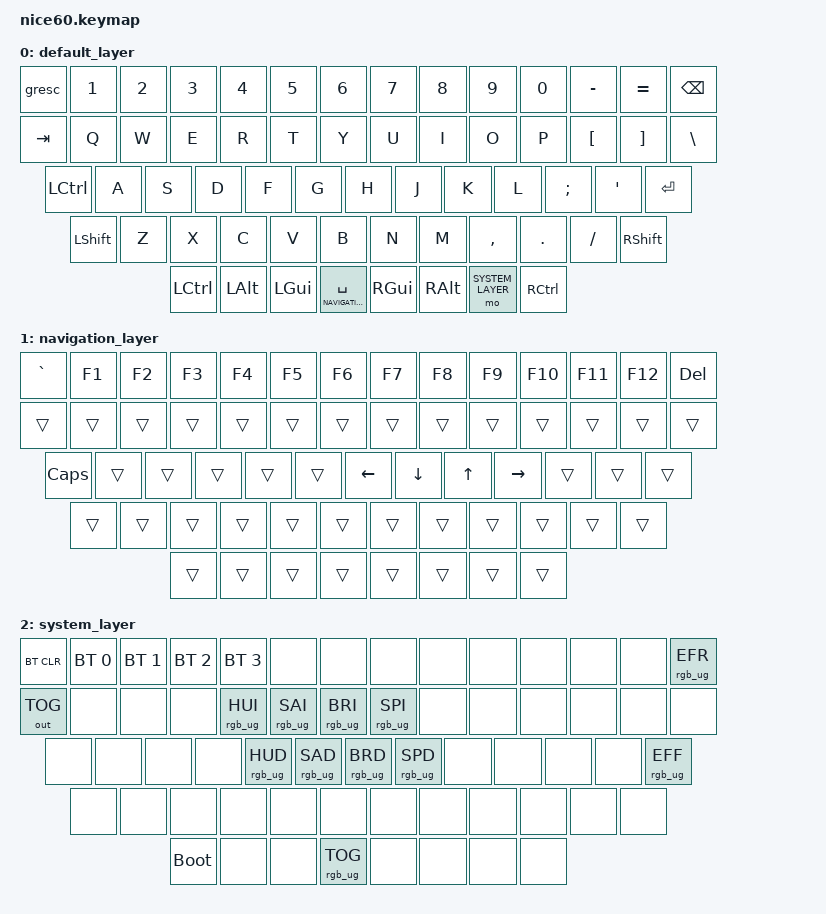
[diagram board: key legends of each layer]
/*
 * Copyright (c) 2021 Nick Winans
 *
 * SPDX-License-Identifier: MIT
 */

#include <behaviors.dtsi>
#include <dt-bindings/zmk/keys.h>
#include <dt-bindings/zmk/rgb.h>
#include <dt-bindings/zmk/bt.h>
#include <dt-bindings/zmk/outputs.h>
#include <dt-bindings/zmk/reset.h>
#include <dt-bindings/zmk/ext_power.h>

#define DEFAULT_LAYER 0
#define NAVIGATION_LAYER 1
#define SYSTEM_LAYER 2

/ {
	keymap {
		compatible = "zmk,keymap";
		
		default_layer {
// ------------------------------------------------------------------------------------------
// | ESC | 1 |  2    |  3  |  4  |  5  |  6  |  7  |  8  |  9  |  0  |  -  |  =  |   BKSP   |
// | TAB | Q |  W    |  E  |  R  |  T  |  Y  |  U  |  I  |  O  |  P  |  [  |  ]  |   "|"   |
// | CTL | A |  S    |  D  |  F  |  G  |  H  |  J  |  K  |  L  |  ;  |  '  |     ENTER    |
// | SHIFT | Z |  X    |  C  |  V  |  B  |  N  |  M  |  ,  |  .  |  /  |      SHIFT       |
// | CTL |  WIN  |  ALT  |            SPACE              |  ALT  |  WIN  |  MO(STUFF) |  CTL  |
// ------------------------------------------------------------------------------------------
			bindings = <
	&gresc  &kp N1 &kp N2 &kp N3 &kp N4 &kp N5 &kp N6 &kp N7 &kp N8 &kp N9 &kp N0 &kp MINUS &kp EQUAL  &kp BSPC
	&kp TAB  &kp Q  &kp W  &kp E  &kp R  &kp T  &kp Y  &kp U  &kp I  &kp O  &kp P  &kp LBKT  &kp RBKT  &kp BSLH
	&kp LCTRL  &kp A  &kp S  &kp D  &kp F  &kp G  &kp H  &kp J  &kp K  &kp L  &kp SEMI &kp SQT           &kp RET
	&kp LSHFT   &kp Z  &kp X  &kp C  &kp V  &kp B  &kp N  &kp M  &kp COMMA &kp DOT &kp FSLH           &kp RSHFT
	&kp LCTRL &kp LALT &kp LGUI             &lt NAVIGATION_LAYER SPACE                    &kp RGUI &kp RALT &mo SYSTEM_LAYER &kp RCTRL
			>;
		};
    
		navigation_layer {
// ------------------------------------------------------------------------------------------
// | ESC |  1  |  2  |  3  |  4  |  5  |  6  |  7  |  8  |  9  |  0  |  -  |  =  |   BKSP   |
// | TAB  |  Q  |  W  |  E  |  R  |  T  |  Y  |  U  |  I  |  O  |  P  |  [  |  ]  |   "|"   |
// | CAPS  |  A  |  S  |  D  |  F  |  G  |  LEFT  |  DOWN  |  UP  |  RIGHT  |  ;  |  '  |     ENTER    |
// |  SHIFT  |  Z  |  X  |  C  |  V  |  B  |  N  |  M  |  ,  |  .  |  /  |      SHIFT       |
// |  CTL  |  WIN  |  ALT  |            SPACE              |  ALT  |  WIN  |  MO(1) |  CTL  |
// ------------------------------------------------------------------------------------------
			bindings = <
	&kp GRAVE &kp F1 &kp F2 &kp F3  &kp F4 &kp F5 &kp F6 &kp F7 &kp F8 &kp F9 &kp F10 &kp F11 &kp F12 &kp DELETE
	&trans  &trans  &trans  &trans &trans  &trans  &trans  &trans &trans  &trans  &trans  &trans  &trans &trans
	&kp CLCK  &trans &trans &trans &trans  &trans &kp LEFT  &kp DOWN  &kp UP  &kp RIGHT &trans &trans &trans
	&trans  &trans  &trans  &trans  &trans  &trans  &trans  &trans  &trans &trans &trans  &trans
	&trans &trans &trans             &trans                   &trans &trans &trans &trans
			>;
		};

		system_layer {
// ------------------------------------------------------------------------------------------------
// | BT CLR | F1  | F2  | F3  | F4  | F5  | F6  | F7  | F8  | F9  | F10  | F11 | F12 | EFFECT REV |
// |  BT 1   |   |  UP |   | HUEUP | SATUP | BRIUP | SPDUP |   |     |    |     |     |           |
// |   BT 2   | LT |  DN  | RT | HUEDN | SATDN | BRIDN | SPDDN |   |     |   |     |  EFFECT FORW |
// |    BT 3     |     |      |      |     |     |     |     |     |     |     |                  |
// |   BT 4  |      |      |             TOG RGB                | PRT SCR |       |       |  DEL  |
// ------------------------------------------------------------------------------------------------
			bindings = <
	&bt BT_CLR   &bt BT_SEL 0    &bt BT_SEL 1   &bt BT_SEL 2  &bt BT_SEL 3    &none   &none  &none  &none  &none   &none &none &none  &rgb_ug RGB_EFR
	&out OUT_TOG  &none   &none    &none  &rgb_ug RGB_HUI  &rgb_ug RGB_SAI &rgb_ug RGB_BRI &rgb_ug RGB_SPI  &none   &none   &none   &none  &none   &none 
	&none   &none  &none  &none &rgb_ug RGB_HUD &rgb_ug RGB_SAD &rgb_ug RGB_BRD &rgb_ug RGB_SPD &none   &none   &none   &none        &rgb_ug RGB_EFF
	&none    &none    &none    &none   &none          &none          &none          &none          &none   &none   &none      &none
	&bootloader  &none   &none                            &rgb_ug RGB_TOG                                      &none      &none      &none   &none
			>;
		};
	};
};
